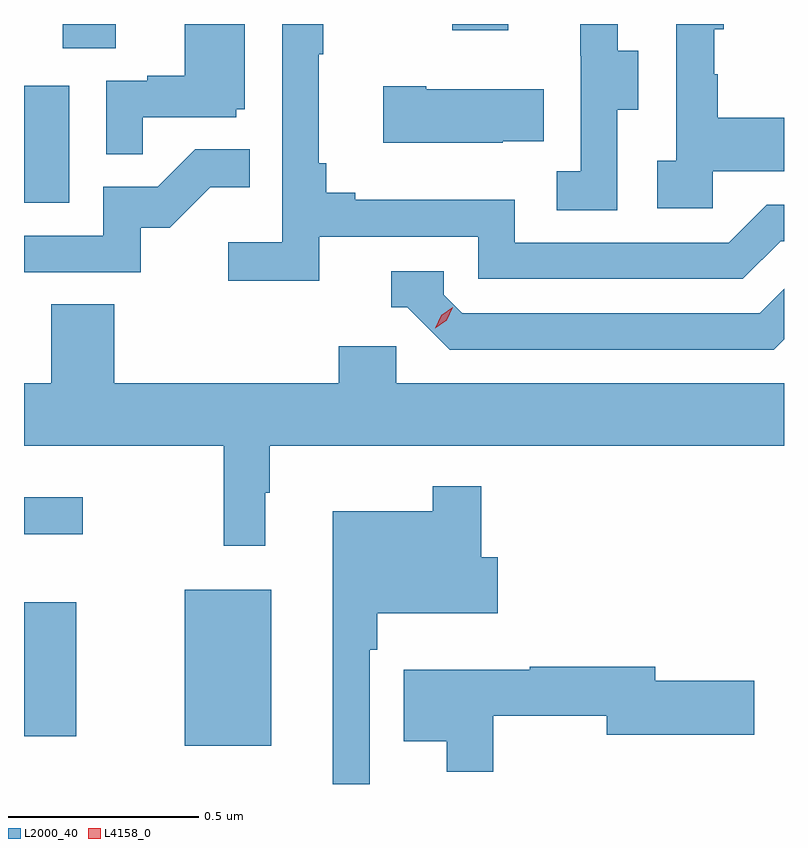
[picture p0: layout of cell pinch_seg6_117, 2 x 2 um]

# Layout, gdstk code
import gdstk
lib = gdstk.Library(unit=1e-6, precision=1e-09)
def R(c, l, rs):  # rectangles x0, y0, x1, y1
    for r in rs: c.add(gdstk.rectangle(r[:2], r[2:], *l))
def P(c, l, *ps):  # polygons
    for p in ps: c.add(gdstk.Polygon(p, *l))
L2000_40 = (2000, 40)
L4158_0 = (4158, 0)

pinch_seg6_117 = lib.new_cell('pinch_seg6_117')
R(pinch_seg6_117, L2000_40, [(985.856,929.231,986.083,929.641), (985.433,929.256,985.57,929.608), (985.433,929.787,985.588,929.884), (985.433,930.66,985.552,930.967), (985.535,931.066,985.675,931.13), (986.56,931.113,986.707,931.13)])
P(pinch_seg6_117, L2000_40, [(986.21,930.57),(986.628,930.57),(986.628,930.459),(987.325,930.459),(987.424,930.558),(987.433,930.558),(987.433,930.654),(987.387,930.654),(987.288,930.555),(986.724,930.555),(986.724,930.667),(986.305,930.667),(986.305,930.686),(986.228,930.686),(986.228,930.763),(986.209,930.763),(986.209,931.051),(986.221,931.051),(986.221,931.13),(986.112,931.13),(986.112,930.556),(985.971,930.556),(985.971,930.454),(986.21,930.454)],
  [(985.745,930.885),(985.992,930.885),(985.992,930.906),(986.014,930.906),(986.014,931.13),(985.856,931.13),(985.856,930.994),(985.757,930.994),(985.757,930.981),(985.65,930.981),(985.65,930.787),(985.745,930.787)],
  [(987.246,930.743),(987.433,930.743),(987.433,930.883),(987.259,930.883),(987.259,930.998),(987.249,930.998),(987.249,931.116),(987.274,931.116),(987.274,931.13),(987.15,931.13),(987.15,930.77),(987.099,930.77),(987.099,930.645),(987.246,930.645)],
  [(986.994,930.904),(987.049,930.904),(987.049,931.059),(986.995,931.059),(986.995,931.13),(986.897,931.13),(986.897,931.047),(986.898,931.047),(986.898,930.743),(986.835,930.743),(986.835,930.64),(986.994,930.64)],
  [(986.693,930.821),(986.801,930.821),(986.801,930.958),(986.491,930.958),(986.491,930.966),(986.379,930.966),(986.379,930.818),(986.693,930.818)],
  [(985.74,930.594),(985.816,930.594),(985.923,930.701),(986.027,930.701),(986.027,930.8),(985.883,930.8),(985.785,930.702),(985.641,930.702),(985.641,930.573),(985.433,930.573),(985.433,930.477),(985.74,930.477)],
  [(987.433,930.3),(987.433,930.433),(987.369,930.369),(986.586,930.369),(986.538,930.417),(986.538,930.48),(986.399,930.48),(986.399,930.384),(986.442,930.384),(986.553,930.273),(987.406,930.273)],
  [(985.67,930.392),(985.505,930.392),(985.505,930.184),(985.433,930.184),(985.433,930.02),(985.959,930.02),(985.959,929.757),(986.068,929.757),(986.068,929.897),(986.08,929.897),(986.08,930.02),(987.433,930.02),(987.433,930.184),(986.412,930.184),(986.412,930.282),(986.261,930.282),(986.261,930.184),(985.67,930.184)],
  [(986.343,929.483),(986.363,929.483),(986.363,929.579),(986.68,929.579),(986.68,929.727),(986.636,929.727),(986.636,929.914),(986.508,929.914),(986.508,929.848),(986.246,929.848),(986.246,929.13),(986.343,929.13)],
  [(986.668,929.31),(986.966,929.31),(986.966,929.26),(987.355,929.26),(987.355,929.402),(987.094,929.402),(987.094,929.438),(986.764,929.438),(986.764,929.431),(986.432,929.431),(986.432,929.243),(986.546,929.243),(986.546,929.162),(986.668,929.162)])
P(pinch_seg6_117, L4158_0, [(986.515,930.33),(986.515,930.33),(986.531,930.363),(986.561,930.384),(986.561,930.384),(986.561,930.384),(986.546,930.35),(986.515,930.33)])

lib.write_gds('pinch_seg6_117.gds')
